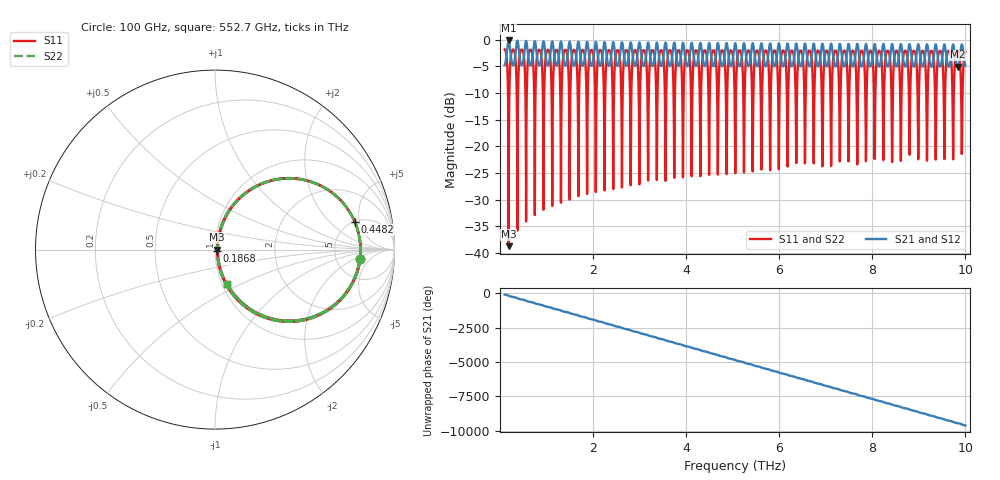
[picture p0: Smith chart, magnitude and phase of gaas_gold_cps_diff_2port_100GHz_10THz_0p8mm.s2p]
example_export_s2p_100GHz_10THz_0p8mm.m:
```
% Export differential 2-port S-parameters (.s2p) using txlineRLCGLine.
% Frequency range: 100 GHz .. 10 THz (logspace).
% Line length: 0.8 mm.
% Assumptions:
%   - Cpul and Lpul constant with frequency
%   - Gpul = 0
%   - Rpul(f) from skin-depth / penetration model
%   - Port reference impedance Z0 = 100 Ohm (differential)

clear; clc;

% Geometry [m]
s = 20e-6;
t_au = 1e-6;
inner_gap = 50e-6;
g = inner_gap / 2;
h = 1e-6;
lineLength = 0.8e-3; % [m]

% Materials
eps_r_gaas = 12.9;
sigma_au = 4.10e7; % [S/m]

% Frequency sweep
fmin = 100e9;
fmax = 10e12;
Nfreq = 10000;
freq = logspace(log10(fmin), log10(fmax), Nfreq);

% Make root routines visible
this_file = mfilename('fullpath');
this_dir = fileparts(this_file);
repo_root = fileparts(fileparts(this_dir));
addpath(repo_root);

% Quasi-static C and L (constant over frequency)
qs = cps_single_layer_params(s, g, h, eps_r_gaas);
Cpul = qs.C_F_per_m;
Lpul = qs.Z_Ohm^2 * Cpul;

% Frequency-dependent differential Rpul (1xN)
rac = cps_rpul_matrix_skin(freq, s, t_au, sigma_au);
Rpul = rac.Rpul_Ohm_per_m;

% Export Touchstone
outfile = fullfile(this_dir, 'gaas_gold_cps_diff_2port_100GHz_10THz_0p8mm.s2p');
out = cps_export_s2p_txlineRLCGLine(outfile, fmin, fmax, Nfreq, lineLength, Cpul, Lpul, Rpul, 0);

% Plot
S = out.S2;
S11_dB = 20 * log10(abs(squeeze(S(1, 1, :))));
S21_dB = 20 * log10(abs(squeeze(S(2, 1, :))));

fig = figure('Visible', 'off');
semilogx(freq, S11_dB, 'LineWidth', 1.3); hold on;
semilogx(freq, S21_dB, 'LineWidth', 1.3);
grid on;
xlabel('Frequency [Hz]');
ylabel('Magnitude [dB]');
title('Differential CPS S-parameters (100 GHz .. 10 THz, 0.8 mm, Z0 = 100 Ohm)');
legend('|S11|', '|S21|', 'Location', 'best');

plotfile = fullfile(this_dir, 'gaas_gold_cps_diff_2port_100GHz_10THz_0p8mm_plot.png');
exportgraphics(fig, plotfile, 'Resolution', 180);
close(fig);

fprintf('Touchstone file written:\n%s\n', out.filename);
fprintf('Plot written:\n%s\n', plotfile);
fprintf('lineLength: %.3f mm\n', lineLength * 1e3);
fprintf('f-range: %.3f GHz .. %.3f THz, N=%d\n', fmin/1e9, fmax/1e12, Nfreq);
fprintf('Z0 normalization: 100 Ohm\n');
```
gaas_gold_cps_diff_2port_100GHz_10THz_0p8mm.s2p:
# Hz S RI R 100
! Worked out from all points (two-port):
!   10000 points, 100 GHz to 10 THz, reference 100 ohm
!   highest |S21| = -0.12 dB at 187.1 GHz (marker M1); lowest = -5.1 dB at 9.831 THz (marker M2)
!   |S21| within 3 dB of the highest: 139.4 GHz to 234.7 GHz (95.32 GHz wide, 51 % of centre); 327 GHz to 421.6 GHz (94.58 GHz wide, 25.3 % of centre)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
!   lowest |S11| = -38.8 dB at 187.3 GHz (marker M3), VSWR 1.02, Z = 102 + j0.0505 ohm
!   |S11| at or under -10 dB: 3.355 THz to 3.385 THz (29.86 GHz wide, 0.886 % of centre); 3.543 THz to 3.573 THz (29.9 GHz wide, 0.84 % of centre); 3.73 THz to 3.76 THz (29.93 GHz wide, 0.799 % of centre)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
!   |S22| runs from -38.8 to -1.8 dB; largest |S21 - S12| = 4.4e-16
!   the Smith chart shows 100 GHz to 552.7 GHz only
!   S11 on the Smith chart (normalised r, x): 100 GHz: 8.81, -2.65; 186.8 GHz: 1.02, -0.02; 448.2 GHz: 5.08, +4.23; 552.7 GHz: 1.06, -0.43
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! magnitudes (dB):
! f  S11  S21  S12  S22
! 100 GHz  -1.8  -4.8  -4.8  -1.8
! 186.8 GHz  -36.4  -0.1  -0.1  -36.4
! 187.1 GHz  -38.3  -0.1  -0.1  -38.3
! 187.3 GHz  -38.8  -0.1  -0.1  -38.8
! 229.2 GHz  -3.5  -2.7  -2.7  -3.5
! 374.5 GHz  -35.8  -0.2  -0.2  -35.8
! 448.2 GHz  -2.0  -4.5  -4.5  -2.0
! 552.7 GHz  -13.8  -0.4  -0.4  -13.8
! 5.051 THz  -18.8  -0.7  -0.7  -18.8
! 9.831 THz  -2.1  -5.1  -5.1  -2.1
! 10 THz  -2.2  -4.8  -4.8  -2.2
